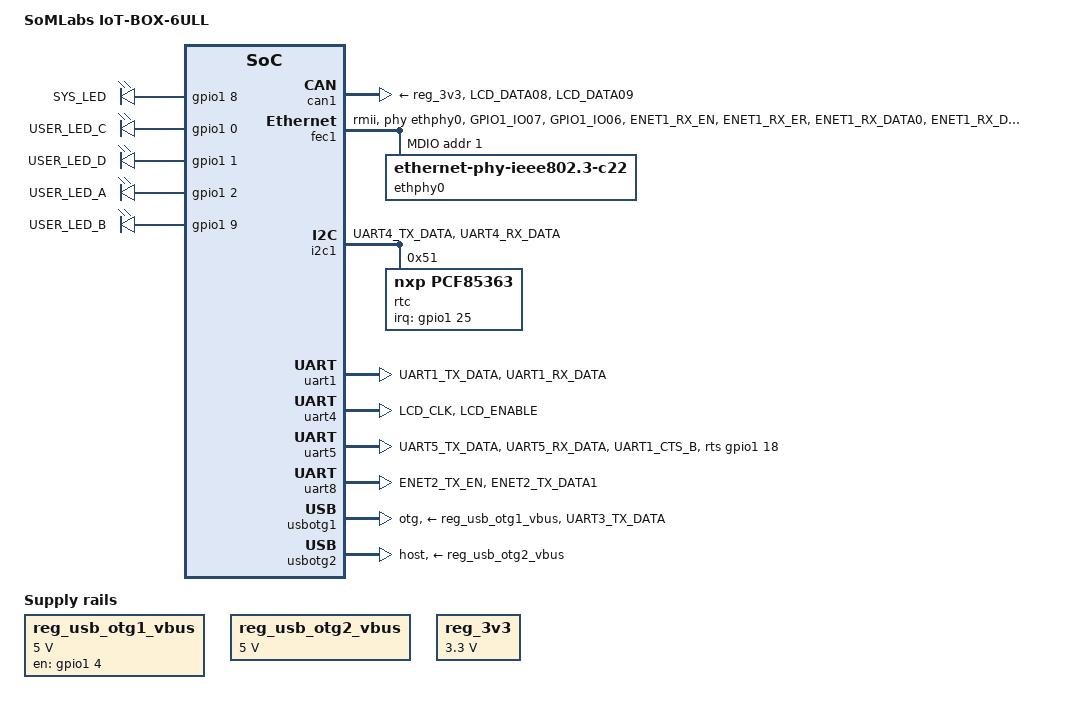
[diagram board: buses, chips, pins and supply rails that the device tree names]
// SPDX-License-Identifier: GPL-2.0-or-later
/*
 * Copyright (C) 2024-2025 SoMLabs
 */

#include "visionsom-6ull-emmc.dtsi"

/ {
        model = "SoMLabs IoT-BOX-6ULL";

        /delete-node/ pxp_v4l2;

        chosen {
                stdout-path = &uart1;
        };

        leds {
                compatible = "gpio-leds";

                sys-led {
                        label = "SYS_LED";
                        gpios = <&gpio1 8 GPIO_ACTIVE_HIGH>;
                        linux,default-trigger = "heartbeat";
                };

                user-led-c {
                        label = "USER_LED_C";
                        gpios = <&gpio1 0 GPIO_ACTIVE_HIGH>;
                };

                user-led-d {
                        label = "USER_LED_D";
                        gpios = <&gpio1 1 GPIO_ACTIVE_HIGH>;
                };

                user-led-a {
                        label = "USER_LED_A";
                        gpios = <&gpio1 2 GPIO_ACTIVE_HIGH>;
                };

                user-led-b {
                        label = "USER_LED_B";
                        gpios = <&gpio1 9 GPIO_ACTIVE_HIGH>;
                };
        };

        regulators {
                reg_usb_otg1_vbus: regulator@1 {
                        compatible = "regulator-fixed";
                        reg = <0>;
                        pinctrl-names = "default";
                        pinctrl-0 = <&pinctrl_usb_otg1_vbus_en>;
                        regulator-name = "usb_otg1_vbus";
                        regulator-min-microvolt = <5000000>;
                        regulator-max-microvolt = <5000000>;
                        gpio = <&gpio1 4 GPIO_ACTIVE_HIGH>;
                        enable-active-high;
                };

                reg_usb_otg2_vbus: regulator@2 {
                        compatible = "regulator-fixed";
                        reg = <1>;
                        regulator-name = "usb_otg2_vbus";
                        regulator-min-microvolt = <5000000>;
                        regulator-max-microvolt = <5000000>;
                };

                reg_3v3: regulator@3 {
                        compatible = "regulator-fixed";
                        reg = <2>;
                        regulator-name = "3v3";
                        regulator-min-microvolt = <3300000>;
                        regulator-max-microvolt = <3300000>;
                };
        };
};

&can1 {
        pinctrl-names = "default";
        pinctrl-0 = <&pinctrl_flexcan1>;
        xceiver-supply = <&reg_3v3>;
        status = "okay";
};

&fec1 {
        pinctrl-names = "default";
        pinctrl-0 = <&pinctrl_enet1>;
        phy-mode = "rmii";
        phy-handle = <&ethphy0>;
        status = "okay";

        mdio {
                #address-cells = <1>;
                #size-cells = <0>;

                ethphy0: ethernet-phy@1 {
                        compatible = "ethernet-phy-ieee802.3-c22";
                        reg = <1>;
                        clocks = <&clks IMX6UL_CLK_ENET_REF>;
                        clock-names = "rmii-ref";
                };
        };
};

&i2c1 {
        clock_frequency = <100000>;
        pinctrl-names = "default";
        pinctrl-0 = <&pinctrl_i2c1>;
        status = "okay";

        rtc: pcf85263@51 {
            compatible = "nxp,pcf85363";
            pinctrl-names = "default";
            pinctrl-0 = <&pinctrl_rtc_int>;
            reg = <0x51>;
            interrupt-parent = <&gpio1>;
            interrupts = <25 IRQ_TYPE_EDGE_FALLING>;
        };

};

&pxp {
        status = "disabled";
};

&uart1 {
        pinctrl-names = "default";
        pinctrl-0 = <&pinctrl_uart1>;
        status = "okay";
};

&uart4 {
        pinctrl-names = "default";
        pinctrl-0 = <&pinctrl_uart4>;
        status = "okay";
};

&uart5 {
        pinctrl-names = "default";
        pinctrl-0 = <&pinctrl_uart5>;
        linux,rs485-enabled-at-boot-time;
        //rs485-rx-during-tx;
        rts-gpios = <&gpio1 18 GPIO_ACTIVE_HIGH>;
        status = "okay";
};

&uart8 {
        pinctrl-names = "default";
        pinctrl-0 = <&pinctrl_uart8>;
        fsl,dte-mode;
        status = "okay";
};

&usbotg1 {
        vbus-supply = <&reg_usb_otg1_vbus>;
        pinctrl-names = "default";
        pinctrl-0 = <&pinctrl_usb_otg1_id>;
        dr_mode = "otg";
        status = "okay";
};

&usbotg2 {
        vbus-supply = <&reg_usb_otg2_vbus>;
        dr_mode = "host";
        status = "okay";
};

&usbphy1 {
        tx-d-cal = <0x5>;
};

&usbphy2 {
        tx-d-cal = <0x5>;
};

&iomuxc {
        pinctrl-0 = <&pinctrl_hog_1>;

        somlabs-iot-box-6ull {
                pinctrl_enet1: enet1grp {
                        fsl,pins = <
                                MX6UL_PAD_GPIO1_IO07__ENET1_MDC         0x1b0b0
                                MX6UL_PAD_GPIO1_IO06__ENET1_MDIO        0x1F829
                                MX6UL_PAD_ENET1_RX_EN__ENET1_RX_EN      0x1b0b0
                                MX6UL_PAD_ENET1_RX_ER__ENET1_RX_ER      0x1b0b0
                                MX6UL_PAD_ENET1_RX_DATA0__ENET1_RDATA00 0x1b0b0
                                MX6UL_PAD_ENET1_RX_DATA1__ENET1_RDATA01 0x1b0b0
                                MX6UL_PAD_ENET1_TX_EN__ENET1_TX_EN      0x1b0b0
                                MX6UL_PAD_ENET1_TX_DATA0__ENET1_TDATA00 0x1b0b0
                                MX6UL_PAD_ENET1_TX_DATA1__ENET1_TDATA01 0x1b0b0
                                MX6UL_PAD_ENET1_TX_CLK__ENET1_REF_CLK1  0x400010a9
                                MX6UL_PAD_ENET2_RX_EN__GPIO2_IO10       0x1b0b0
                                MX6UL_PAD_LCD_DATA15__GPIO3_IO20        0x1b001
                        >;
                };

                pinctrl_flexcan1: flexcan1grp{
                        fsl,pins = <
                                MX6UL_PAD_LCD_DATA08__FLEXCAN1_TX 0x1b020
                                MX6UL_PAD_LCD_DATA09__FLEXCAN1_RX 0x1b020
                        >;
                };

                pinctrl_hog_1: hoggrp-1 {
                        fsl,pins = <
                                // LEDs
                                MX6UL_PAD_GPIO1_IO00__GPIO1_IO00 0x17099
                                MX6UL_PAD_GPIO1_IO01__GPIO1_IO01 0x17099
                                MX6UL_PAD_GPIO1_IO02__GPIO1_IO02 0x17099
                                MX6UL_PAD_GPIO1_IO08__GPIO1_IO08 0x17099
                                MX6UL_PAD_GPIO1_IO09__GPIO1_IO09 0x17099

                                // Digital outputs
                                MX6UL_PAD_JTAG_TDO__GPIO1_IO12    0x17099
                                MX6UL_PAD_JTAG_TCK__GPIO1_IO14    0x17099
                                MX6UL_PAD_UART2_CTS_B__GPIO1_IO22 0x17099
                                MX6UL_PAD_UART3_CTS_B__GPIO1_IO26 0x17099

                                // Digital inputs
                                MX6UL_PAD_LCD_RESET__GPIO3_IO04  0x99
                                MX6UL_PAD_LCD_DATA00__GPIO3_IO05 0x99
                                MX6UL_PAD_LCD_DATA01__GPIO3_IO06 0x99
                                MX6UL_PAD_LCD_DATA06__GPIO3_IO11 0x99

                                // Relay output
                                MX6UL_PAD_JTAG_TMS__GPIO1_IO11    0x17099
                                MX6UL_PAD_JTAG_TRST_B__GPIO1_IO15 0x17099
                        >;
                };

                pinctrl_i2c1: i2c1grp {
                        fsl,pins = <
                                MX6UL_PAD_UART4_TX_DATA__I2C1_SCL 0x4001b8b0
                                MX6UL_PAD_UART4_RX_DATA__I2C1_SDA 0x4001b8b0
                        >;
                };

                pinctrl_rtc_int: rtcgrp {
                        fsl,pins = <
                                MX6UL_PAD_UART3_RX_DATA__GPIO1_IO25 0x1b001
                        >;
                };

                pinctrl_uart1: uart1grp {
                        fsl,pins = <
                                MX6UL_PAD_UART1_TX_DATA__UART1_DCE_TX 0x1b0b1
                                MX6UL_PAD_UART1_RX_DATA__UART1_DCE_RX 0x1b0b1
                        >;
                };

                pinctrl_uart4: uart4grp {
                        fsl,pins = <
                                MX6UL_PAD_LCD_CLK__UART4_DCE_TX    0x1b0b1
                                MX6UL_PAD_LCD_ENABLE__UART4_DCE_RX 0x1b0b1
                        >;
                };

                pinctrl_uart5: uart5grp {
                        fsl,pins = <
                                MX6UL_PAD_UART5_TX_DATA__UART5_DCE_TX 0x1b0b1
                                MX6UL_PAD_UART5_RX_DATA__UART5_DCE_RX 0x1b0b1
                                MX6UL_PAD_UART1_CTS_B__GPIO1_IO18     0x1b0b0 
                        >;
                };

                pinctrl_uart8: uart8grp {
                        fsl,pins = <
                                MX6UL_PAD_ENET2_TX_EN__UART8_DTE_TX    0x1b0b1
                                MX6UL_PAD_ENET2_TX_DATA1__UART8_DTE_RX 0x1b0b1
                        >;
                };

                pinctrl_usb_otg1_vbus_en: usbotg1vbusengrp {
                        fsl,pins = <
                                MX6UL_PAD_GPIO1_IO04__GPIO1_IO04 0x10b0
                        >;
                };

                pinctrl_usb_otg1_id: usbotg1idgrp {
                        fsl,pins = <
                                MX6UL_PAD_UART3_TX_DATA__ANATOP_OTG1_ID 0x17059
                        >;
                };
        };
};
